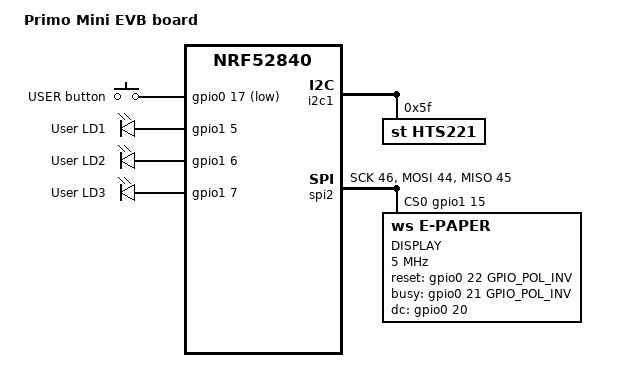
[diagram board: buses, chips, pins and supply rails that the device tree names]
/*
 * Copyright (c) 2017 Shawn Nock <shawn@monadnock.ca>
 * Copyright (c) 2017 Linaro Limited
 * Copyright (c) 2019 dog hunter LLC and the Linino community
 *
 * Linino.org is a dog hunter sponsored community project
 *
 * nrf52 primo mini evb.
 *
 * SPDX-License-Identifier: Apache-2.0
 */

/dts-v1/;
#include <doghunter/nrf52_primo_mini.dtsi>

/ {
	model = "Primo Mini EVB board";
	compatible = "doghunter,primo-mini-evb", "doghunter,primo-mini",
		     "nordic,nrf52840-qiaa", "nordic,nrf52840";

	chosen {
		zephyr,console = &uart0;
#ifdef CONFIG_MCUMGR_SMP_UART
		zephyr,uart-mcumgr = &uart0;
#endif
		zephyr,sram = &sram0;
		zephyr,flash = &flash0;
	};

	buttons {
		compatible = "gpio-keys";
		button0: button_0 {
			gpios = <&gpio0 17 GPIO_INT_ACTIVE_LOW>;
			label = "USER button";
		};
	};

	leds {
                compatible = "gpio-leds";
                red_led: led_0 {
			/* PD37 -> P1.05 */
                        gpios = <&gpio1 5 0>;
                        label = "User LD1";
                };
                green_led: led_1 {
			/* PD38 -> P1.06 */
                        gpios = <&gpio1 6 0>;
                        label = "User LD2";
                };
                blue_led: led_2 {
			/* PD39 -> P1.07 */
                        gpios = <&gpio1 7 0>;
                        label = "User LD3";
                };
        };
};

&i2c1 {
	hts221@5f {
		compatible = "st,hts221";
		reg = <0x5f>;
		label = "HTS221";
	};
};

&spi2 {
	status = "ok";
	/* NSS_EXT -> PD41 -> p1.15 */
	cs-gpios = <&gpio1 15 0>;
	mosi-pin = <44>;
	miso-pin = <45>;
	sck-pin = <46>;

	display@0 {
		compatible = "ws,e-paper";
		reg = <0>;
		label = "DISPLAY";
		xres = <212>;
		yres = <104>;
		spi-max-frequency = <5000000>;
		/* 4 -> PD9 -> p0.22 */
		reset-gpios = <&gpio0 22 GPIO_POL_INV>;
		/* 3 -> PD8 -> p0.21 */
		busy-gpios = <&gpio0 21 GPIO_POL_INV>;
		/* 2 -> PD10 -> p0.20 */
		dc-gpios = <&gpio0 20 0>;
	};

};
